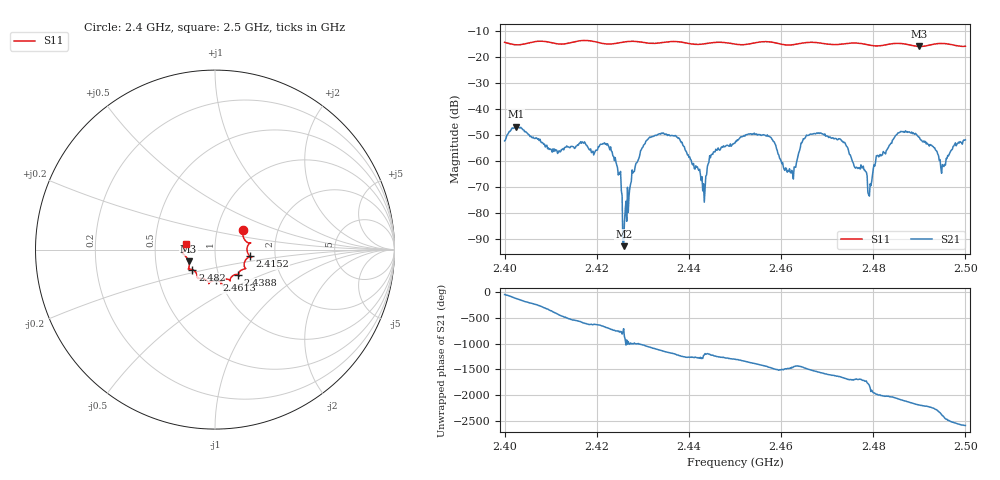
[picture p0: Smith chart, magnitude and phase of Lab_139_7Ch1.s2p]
# Hz S RI R 50
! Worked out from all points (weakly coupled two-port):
!   601 points, 2.4 GHz to 2.5 GHz, reference 50 ohm
!   highest |S21| = -46.68 dB at 2.4025 GHz (marker M1); lowest = -92.7 dB at 2.4258 GHz (marker M2)
!   lowest |S11| = -15.9 dB at 2.49 GHz (marker M3), VSWR 1.38, Z = 36.9 - j4.86 ohm
!   |S11| at or under -10 dB: start of sweep to end of sweep
!   S12 and S22 are empty: the file has one direction only
!   S11 on the Smith chart (normalised r, x): 2.4 GHz: 1.33, +0.31; 2.4152 GHz: 1.48, -0.11; 2.4388 GHz: 1.24, -0.36; 2.4613 GHz: 0.96, -0.34; 2.482 GHz: 0.76, -0.17; 2.5 GHz: 0.72, +0.05
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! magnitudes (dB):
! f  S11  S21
! 2.4 GHz  -14.3  -52.2
! 2.4025 GHz  -15.3  -46.7
! 2.4152 GHz  -14.1  -55.1
! 2.4167 GHz  -13.6  -53.1
! 2.4228 GHz  -15.0  -55.7
! 2.4258 GHz  -14.2  -92.7
! 2.43 GHz  -14.3  -54.6
! 2.4333 GHz  -14.6  -49.7
! 2.4388 GHz  -14.4  -54.2
! 2.4432 GHz  -14.9  -68.7
! 2.445 GHz  -14.5  -57.3
! 2.45 GHz  -15.0  -53.0
! 2.4573 GHz  -14.1  -50.4
! 2.4613 GHz  -15.3  -64.3
! 2.4667 GHz  -14.3  -49.6
! 2.4733 GHz  -14.9  -52.3
! 2.4792 GHz  -15.4  -73.5
! 2.482 GHz  -15.5  -57.6
! 2.4833 GHz  -15.0  -54.5
! 2.49 GHz  -15.9  -50.8
! 2.4952 GHz  -14.7  -61.6
! 2.5 GHz  -15.8  -51.8
